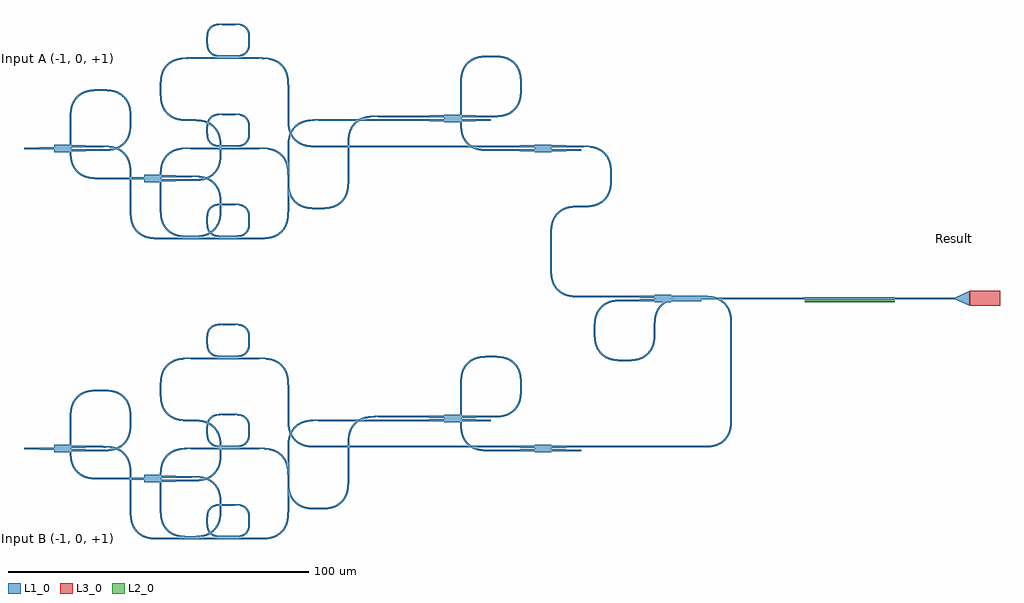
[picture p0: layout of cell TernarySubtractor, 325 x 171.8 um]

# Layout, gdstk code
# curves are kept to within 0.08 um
from math import pi, radians
import gdstk
lib = gdstk.Library(unit=1e-6, precision=1e-09)
def R(c, l, rs):  # rectangles x0, y0, x1, y1
    for r in rs: c.add(gdstk.rectangle(r[:2], r[2:], *l))
def P(c, l, *ps):  # polygons
    for p in ps: c.add(gdstk.Polygon(p, *l))
L1_0 = (1, 0)
L2_0 = (2, 0)
L3_0 = (3, 0)

mmi1x2_gdsfactorypcompon = lib.new_cell('mmi1x2_gdsfactorypcomponentspmmispmmi1x2_WNone_WT1_LT10_1f097353')
P(mmi1x2_gdsfactorypcompon, L1_0, [(0,-1.25),(0,-0.5),(-10,-0.25),(-10,0.25),(0,0.5),(0,1.25),(5.5,1.25),(5.5,1.125),(15.5,0.875),(15.5,0.375),(5.5,0.125),(5.5,-0.125),(15.5,-0.375),(15.5,-0.875),(5.5,-1.125),(5.5,-1.25)])

bend_euler_gdsfactorypco = lib.new_cell('bend_euler_gdsfactorypcomponentspbendspbend_euler_R10_A_335c8724')
P(bend_euler_gdsfactorypco, L1_0, [(0,-0.25),(0,0.25),(2.881,0.353),(3.952,0.52),(4.99,0.806),(6.431,1.505),(7.575,2.425),(8.495,3.569),(9.194,5.01),(9.48,6.048),(9.647,7.119),(9.75,10),(10.25,10),(10.158,7.205),(9.797,5.254),(9.457,4.312),(9.066,3.545),(8.5,2.715),(7.928,2.072),(7.285,1.5),(6.455,0.934),(5.688,0.543),(4.746,0.203),(2.795,-0.158)])

straight_gdsfactorypcomp = lib.new_cell('straight_gdsfactorypcomponentspwaveguidespstraight_L9p3_5c04381e')
R(straight_gdsfactorypcomp, L1_0, [(0,-0.25,9.375,0.25)])

c_straight_gdsfactorypcomp = lib.new_cell('straight_gdsfactorypcomponentspwaveguidespstraight_L4p5_be343a92')
R(c_straight_gdsfactorypcomp, L1_0, [(0,-0.25,4.5,0.25)])

split_a_c6504780 = lib.new_cell('split_A_c6504780')
split_a_c6504780.add(gdstk.Reference(mmi1x2_gdsfactorypcompon, (0,0)))
split_a_c6504780.add(gdstk.Reference(mmi1x2_gdsfactorypcompon, (30,-10)))
split_a_c6504780.add(gdstk.Reference(bend_euler_gdsfactorypco, (25.5,9.375), rotation=3*pi/2, x_reflection=True))
split_a_c6504780.add(gdstk.Reference(bend_euler_gdsfactorypco, (15.5,19.375), x_reflection=True))
split_a_c6504780.add(gdstk.Reference(bend_euler_gdsfactorypco, (5.5,9.375), rotation=pi/2, x_reflection=True))
split_a_c6504780.add(gdstk.Reference(bend_euler_gdsfactorypco, (15.5,-10), rotation=pi, x_reflection=True))
split_a_c6504780.add(gdstk.Reference(straight_gdsfactorypcomp, (5.5,9.375), rotation=3*pi/2))
split_a_c6504780.add(gdstk.Reference(c_straight_gdsfactorypcomp, (15.5,-10)))

coupler_ring_gdsfactoryp = lib.new_cell('coupler_ring_gdsfactorypcomponentspcouplerspcoupler_rin_e57d2f45')
R(coupler_ring_gdsfactoryp, L1_0, [(-12,-0.25,8,0.25)])
P(coupler_ring_gdsfactoryp, L1_0, [(-4.278,0.45),(-5.553,0.512),(-6.549,0.725),(-7.411,1.132),(-8.167,1.767),(-8.733,2.575),(-9.057,3.433),(-9.216,4.433),(-9.25,5.7),(-8.75,5.7),(-8.706,4.34),(-8.538,3.432),(-8.146,2.558),(-7.596,1.902),(-7.02,1.48),(-6.268,1.162),(-5.36,0.994),(-4.276,0.95),(1.093,0.973),(2.142,1.127),(2.894,1.411),(3.596,1.902),(4.22,2.68),(4.5,3.308),(4.654,3.944),(4.75,5.7),(5.25,5.7),(5.169,4.004),(5.018,3.292),(4.806,2.723),(4.476,2.152),(4.053,1.647),(3.125,0.967),(2.267,0.643),(1.124,0.474)])

c_straight_gdsfactorypcomp_ = lib.new_cell('straight_gdsfactorypcomponentspwaveguidespstraight_L4_N_a6eac62c')
R(c_straight_gdsfactorypcomp_, L1_0, [(0,-0.25,4,0.25)])

c_bend_euler_gdsfactorypco = lib.new_cell('bend_euler_gdsfactorypcomponentspbendspbend_euler_R5_A9_90a35c7e')
P(c_bend_euler_gdsfactorypco, L1_0, [(0,-0.25),(0,0.25),(1.36,0.294),(2.268,0.462),(3.02,0.78),(3.699,1.301),(4.22,1.98),(4.538,2.732),(4.706,3.64),(4.75,5),(5.25,5),(5.203,3.59),(5.018,2.592),(4.653,1.73),(4.053,0.947),(3.27,0.347),(2.408,-0.018),(1.41,-0.203)])

c_straight_gdsfactorypcomp__ = lib.new_cell('straight_gdsfactorypcomponentspwaveguidespstraight_L0p6_058e2168')
R(c_straight_gdsfactorypcomp__, L1_0, [(0,-0.25,0.6,0.25)])

ring_single_gdsfactorypc = lib.new_cell('ring_single_gdsfactorypcomponentspringspring_single_G0p_fd70e67b')
ring_single_gdsfactorypc.add(gdstk.Reference(coupler_ring_gdsfactoryp, (0,0)))
ring_single_gdsfactorypc.add(gdstk.Reference(c_straight_gdsfactorypcomp_, (0,11.3), rotation=pi))
ring_single_gdsfactorypc.add(gdstk.Reference(c_bend_euler_gdsfactorypco, (-4,11.3), rotation=pi))
ring_single_gdsfactorypc.add(gdstk.Reference(c_bend_euler_gdsfactorypco, (5,6.3), rotation=pi/2))
ring_single_gdsfactorypc.add(gdstk.Reference(c_straight_gdsfactorypcomp__, (-9,5.7), rotation=pi/2))
ring_single_gdsfactorypc.add(gdstk.Reference(c_straight_gdsfactorypcomp__, (5,6.3), rotation=3*pi/2))

sel_a_red_c6504780 = lib.new_cell('sel_A_Red_c6504780')
sel_a_red_c6504780.add(gdstk.Reference(ring_single_gdsfactorypc, (0,0)))
sel_a_red_c6504780.add(gdstk.Label('Î»=1.55Î¼m', (0,7), layer=66, texttype=0))

sel_a_green_c6504780 = lib.new_cell('sel_A_Green_c6504780')
sel_a_green_c6504780.add(gdstk.Reference(ring_single_gdsfactorypc, (0,0)))
sel_a_green_c6504780.add(gdstk.Label('Î»=1.3Î¼m', (0,7), layer=66, texttype=0))

sel_a_blue_c6504780 = lib.new_cell('sel_A_Blue_c6504780')
sel_a_blue_c6504780.add(gdstk.Reference(ring_single_gdsfactorypc, (0,0)))
sel_a_blue_c6504780.add(gdstk.Label('Î»=1.0Î¼m', (0,7), layer=66, texttype=0))

mmi2x2_gdsfactorypcompon = lib.new_cell('mmi2x2_gdsfactorypcomponentspmmispmmi2x2_WNone_WT1_LT10_d84946bc')
P(mmi2x2_gdsfactorypcompon, L1_0, [(0,-1.25),(0,-1.125),(-10,-0.875),(-10,-0.375),(0,-0.125),(0,0.125),(-10,0.375),(-10,0.875),(0,1.125),(0,1.25),(5.5,1.25),(5.5,1.125),(15.5,0.875),(15.5,0.375),(5.5,0.125),(5.5,-0.125),(15.5,-0.375),(15.5,-0.875),(5.5,-1.125),(5.5,-1.25)])

c_straight_gdsfactorypcomp___ = lib.new_cell('straight_gdsfactorypcomponentspwaveguidespstraight_L11p_b5dd33e6')
R(c_straight_gdsfactorypcomp___, L1_0, [(0,-0.25,11.25,0.25)])

comb_a_c6504780 = lib.new_cell('comb_A_c6504780')
comb_a_c6504780.add(gdstk.Reference(mmi2x2_gdsfactorypcompon, (0,10)))
comb_a_c6504780.add(gdstk.Reference(mmi2x2_gdsfactorypcompon, (30,0)))
comb_a_c6504780.add(gdstk.Reference(bend_euler_gdsfactorypco, (25.5,20.625), rotation=3*pi/2, x_reflection=True))
comb_a_c6504780.add(gdstk.Reference(bend_euler_gdsfactorypco, (15.5,30.625), x_reflection=True))
comb_a_c6504780.add(gdstk.Reference(bend_euler_gdsfactorypco, (5.5,20.625), rotation=pi/2, x_reflection=True))
comb_a_c6504780.add(gdstk.Reference(bend_euler_gdsfactorypco, (15.5,-0.625), rotation=pi, x_reflection=True))
comb_a_c6504780.add(gdstk.Reference(c_straight_gdsfactorypcomp___, (5.5,20.625), rotation=3*pi/2))
comb_a_c6504780.add(gdstk.Reference(c_straight_gdsfactorypcomp, (15.5,-0.625)))

c_straight_gdsfactorypcomp____ = lib.new_cell('straight_gdsfactorypcomponentspwaveguidespstraight_L10p_2f2216ae')
R(c_straight_gdsfactorypcomp____, L1_0, [(0,-0.25,10.625,0.25)])

c_straight_gdsfactorypcomp_____ = lib.new_cell('straight_gdsfactorypcomponentspwaveguidespstraight_L12p_0dcc9123')
R(c_straight_gdsfactorypcomp_____, L1_0, [(0,-0.25,12.5,0.25)])

c_straight_gdsfactorypcomp______ = lib.new_cell('straight_gdsfactorypcomponentspwaveguidespstraight_L2p5_b59e3197')
R(c_straight_gdsfactorypcomp______, L1_0, [(0,-0.25,2.5,0.25)])

c_straight_gdsfactorypcomp_______ = lib.new_cell('straight_gdsfactorypcomponentspwaveguidespstraight_L0p6_2a917248')
R(c_straight_gdsfactorypcomp_______, L1_0, [(0,-0.25,0.625,0.25)])

c_straight_gdsfactorypcomp________ = lib.new_cell('straight_gdsfactorypcomponentspwaveguidespstraight_L19p_8f351695')
R(c_straight_gdsfactorypcomp________, L1_0, [(0,-0.25,19.375,0.25)])

c_straight_gdsfactorypcomp_________ = lib.new_cell('straight_gdsfactorypcomponentspwaveguidespstraight_L32__d09634ea')
R(c_straight_gdsfactorypcomp_________, L1_0, [(0,-0.25,32,0.25)])

c_straight_gdsfactorypcomp__________ = lib.new_cell('straight_gdsfactorypcomponentspwaveguidespstraight_L12__08aed825')
R(c_straight_gdsfactorypcomp__________, L1_0, [(0,-0.25,12,0.25)])

c_straight_gdsfactorypcomp___________ = lib.new_cell('straight_gdsfactorypcomponentspwaveguidespstraight_L62__7b0e011d')
R(c_straight_gdsfactorypcomp___________, L1_0, [(0,-0.25,62,0.25)])

input_a_c6504780 = lib.new_cell('input_A_c6504780')
input_a_c6504780.add(gdstk.Reference(split_a_c6504780, (0,50)))
input_a_c6504780.add(gdstk.Reference(sel_a_red_c6504780, (60,20)))
input_a_c6504780.add(gdstk.Reference(sel_a_green_c6504780, (60,50)))
input_a_c6504780.add(gdstk.Reference(sel_a_blue_c6504780, (60,80)))
input_a_c6504780.add(gdstk.Reference(comb_a_c6504780, (130,50)))
input_a_c6504780.add(gdstk.Reference(bend_euler_gdsfactorypco, (25.5,40.625), rotation=pi/2))
input_a_c6504780.add(gdstk.Reference(bend_euler_gdsfactorypco, (35.5,20), rotation=pi, x_reflection=True))
input_a_c6504780.add(gdstk.Reference(c_straight_gdsfactorypcomp____, (25.5,40.625), rotation=3*pi/2))
input_a_c6504780.add(gdstk.Reference(c_straight_gdsfactorypcomp_____, (35.5,20)))
input_a_c6504780.add(gdstk.Reference(bend_euler_gdsfactorypco, (55.5,30.625), rotation=pi/2))
input_a_c6504780.add(gdstk.Reference(bend_euler_gdsfactorypco, (45.5,20.625)))
input_a_c6504780.add(gdstk.Reference(bend_euler_gdsfactorypco, (35.5,30.625), rotation=3*pi/2))
input_a_c6504780.add(gdstk.Reference(bend_euler_gdsfactorypco, (45.5,50), rotation=pi))
input_a_c6504780.add(gdstk.Reference(straight_gdsfactorypcomp, (35.5,30.625), rotation=pi/2))
input_a_c6504780.add(gdstk.Reference(c_straight_gdsfactorypcomp______, (45.5,50)))
input_a_c6504780.add(gdstk.Reference(bend_euler_gdsfactorypco, (55.5,49.375), rotation=3*pi/2, x_reflection=True))
input_a_c6504780.add(gdstk.Reference(bend_euler_gdsfactorypco, (45.5,59.375), x_reflection=True))
input_a_c6504780.add(gdstk.Reference(bend_euler_gdsfactorypco, (35.5,69.375), rotation=3*pi/2))
input_a_c6504780.add(gdstk.Reference(bend_euler_gdsfactorypco, (45.5,80), rotation=pi))
input_a_c6504780.add(gdstk.Reference(c_straight_gdsfactorypcomp_______, (35.5,69.375), rotation=pi/2))
input_a_c6504780.add(gdstk.Reference(c_straight_gdsfactorypcomp______, (45.5,80)))
input_a_c6504780.add(gdstk.Reference(bend_euler_gdsfactorypco, (78,30), rotation=3*pi/2, x_reflection=True))
input_a_c6504780.add(gdstk.Reference(bend_euler_gdsfactorypco, (88,59.375), rotation=pi))
input_a_c6504780.add(gdstk.Reference(c_straight_gdsfactorypcomp________, (78,30), rotation=pi/2))
input_a_c6504780.add(gdstk.Reference(c_straight_gdsfactorypcomp_________, (88,59.375)))
input_a_c6504780.add(gdstk.Reference(bend_euler_gdsfactorypco, (78,40), rotation=pi/2))
input_a_c6504780.add(gdstk.Reference(bend_euler_gdsfactorypco, (88,30), rotation=pi, x_reflection=True))
input_a_c6504780.add(gdstk.Reference(bend_euler_gdsfactorypco, (98,40), rotation=3*pi/2, x_reflection=True))
input_a_c6504780.add(gdstk.Reference(bend_euler_gdsfactorypco, (108,60.625), rotation=pi))
input_a_c6504780.add(gdstk.Reference(c_straight_gdsfactorypcomp____, (98,40), rotation=pi/2))
input_a_c6504780.add(gdstk.Reference(c_straight_gdsfactorypcomp__________, (108,60.625)))
input_a_c6504780.add(gdstk.Reference(bend_euler_gdsfactorypco, (78,70), rotation=pi/2))
input_a_c6504780.add(gdstk.Reference(bend_euler_gdsfactorypco, (88,50.625), rotation=pi, x_reflection=True))
input_a_c6504780.add(gdstk.Reference(straight_gdsfactorypcomp, (78,70), rotation=3*pi/2))
input_a_c6504780.add(gdstk.Reference(c_straight_gdsfactorypcomp___________, (88,50.625)))

split_b_c6504780 = lib.new_cell('split_B_c6504780')
split_b_c6504780.add(gdstk.Reference(mmi1x2_gdsfactorypcompon, (0,0)))
split_b_c6504780.add(gdstk.Reference(mmi1x2_gdsfactorypcompon, (30,-10)))
split_b_c6504780.add(gdstk.Reference(bend_euler_gdsfactorypco, (25.5,9.375), rotation=3*pi/2, x_reflection=True))
split_b_c6504780.add(gdstk.Reference(bend_euler_gdsfactorypco, (15.5,19.375), x_reflection=True))
split_b_c6504780.add(gdstk.Reference(bend_euler_gdsfactorypco, (5.5,9.375), rotation=pi/2, x_reflection=True))
split_b_c6504780.add(gdstk.Reference(bend_euler_gdsfactorypco, (15.5,-10), rotation=pi, x_reflection=True))
split_b_c6504780.add(gdstk.Reference(straight_gdsfactorypcomp, (5.5,9.375), rotation=3*pi/2))
split_b_c6504780.add(gdstk.Reference(c_straight_gdsfactorypcomp, (15.5,-10)))

sel_b_red_c6504780 = lib.new_cell('sel_B_Red_c6504780')
sel_b_red_c6504780.add(gdstk.Reference(ring_single_gdsfactorypc, (0,0)))
sel_b_red_c6504780.add(gdstk.Label('Î»=1.55Î¼m', (0,7), layer=66, texttype=0))

sel_b_green_c6504780 = lib.new_cell('sel_B_Green_c6504780')
sel_b_green_c6504780.add(gdstk.Reference(ring_single_gdsfactorypc, (0,0)))
sel_b_green_c6504780.add(gdstk.Label('Î»=1.3Î¼m', (0,7), layer=66, texttype=0))

sel_b_blue_c6504780 = lib.new_cell('sel_B_Blue_c6504780')
sel_b_blue_c6504780.add(gdstk.Reference(ring_single_gdsfactorypc, (0,0)))
sel_b_blue_c6504780.add(gdstk.Label('Î»=1.0Î¼m', (0,7), layer=66, texttype=0))

comb_b_c6504780 = lib.new_cell('comb_B_c6504780')
comb_b_c6504780.add(gdstk.Reference(mmi2x2_gdsfactorypcompon, (0,10)))
comb_b_c6504780.add(gdstk.Reference(mmi2x2_gdsfactorypcompon, (30,0)))
comb_b_c6504780.add(gdstk.Reference(bend_euler_gdsfactorypco, (25.5,20.625), rotation=3*pi/2, x_reflection=True))
comb_b_c6504780.add(gdstk.Reference(bend_euler_gdsfactorypco, (15.5,30.625), x_reflection=True))
comb_b_c6504780.add(gdstk.Reference(bend_euler_gdsfactorypco, (5.5,20.625), rotation=pi/2, x_reflection=True))
comb_b_c6504780.add(gdstk.Reference(bend_euler_gdsfactorypco, (15.5,-0.625), rotation=pi, x_reflection=True))
comb_b_c6504780.add(gdstk.Reference(c_straight_gdsfactorypcomp___, (5.5,20.625), rotation=3*pi/2))
comb_b_c6504780.add(gdstk.Reference(c_straight_gdsfactorypcomp, (15.5,-0.625)))

input_b_c6504780 = lib.new_cell('input_B_c6504780')
input_b_c6504780.add(gdstk.Reference(split_b_c6504780, (0,-50)))
input_b_c6504780.add(gdstk.Reference(sel_b_red_c6504780, (60,-80)))
input_b_c6504780.add(gdstk.Reference(sel_b_green_c6504780, (60,-50)))
input_b_c6504780.add(gdstk.Reference(sel_b_blue_c6504780, (60,-20)))
input_b_c6504780.add(gdstk.Reference(comb_b_c6504780, (130,-50)))
input_b_c6504780.add(gdstk.Reference(bend_euler_gdsfactorypco, (25.5,-59.375), rotation=pi/2))
input_b_c6504780.add(gdstk.Reference(bend_euler_gdsfactorypco, (35.5,-80), rotation=pi, x_reflection=True))
input_b_c6504780.add(gdstk.Reference(c_straight_gdsfactorypcomp____, (25.5,-59.375), rotation=3*pi/2))
input_b_c6504780.add(gdstk.Reference(c_straight_gdsfactorypcomp_____, (35.5,-80)))
input_b_c6504780.add(gdstk.Reference(bend_euler_gdsfactorypco, (55.5,-69.375), rotation=pi/2))
input_b_c6504780.add(gdstk.Reference(bend_euler_gdsfactorypco, (45.5,-79.375)))
input_b_c6504780.add(gdstk.Reference(bend_euler_gdsfactorypco, (35.5,-69.375), rotation=3*pi/2))
input_b_c6504780.add(gdstk.Reference(bend_euler_gdsfactorypco, (45.5,-50), rotation=pi))
input_b_c6504780.add(gdstk.Reference(straight_gdsfactorypcomp, (35.5,-69.375), rotation=pi/2))
input_b_c6504780.add(gdstk.Reference(c_straight_gdsfactorypcomp______, (45.5,-50)))
input_b_c6504780.add(gdstk.Reference(bend_euler_gdsfactorypco, (55.5,-50.625), rotation=3*pi/2, x_reflection=True))
input_b_c6504780.add(gdstk.Reference(bend_euler_gdsfactorypco, (45.5,-40.625), x_reflection=True))
input_b_c6504780.add(gdstk.Reference(bend_euler_gdsfactorypco, (35.5,-30.625), rotation=3*pi/2))
input_b_c6504780.add(gdstk.Reference(bend_euler_gdsfactorypco, (45.5,-20), rotation=pi))
input_b_c6504780.add(gdstk.Reference(c_straight_gdsfactorypcomp_______, (35.5,-30.625), rotation=pi/2))
input_b_c6504780.add(gdstk.Reference(c_straight_gdsfactorypcomp______, (45.5,-20)))
input_b_c6504780.add(gdstk.Reference(bend_euler_gdsfactorypco, (78,-70), rotation=3*pi/2, x_reflection=True))
input_b_c6504780.add(gdstk.Reference(bend_euler_gdsfactorypco, (88,-40.625), rotation=pi))
input_b_c6504780.add(gdstk.Reference(c_straight_gdsfactorypcomp________, (78,-70), rotation=pi/2))
input_b_c6504780.add(gdstk.Reference(c_straight_gdsfactorypcomp_________, (88,-40.625)))
input_b_c6504780.add(gdstk.Reference(bend_euler_gdsfactorypco, (78,-60), rotation=pi/2))
input_b_c6504780.add(gdstk.Reference(bend_euler_gdsfactorypco, (88,-70), rotation=pi, x_reflection=True))
input_b_c6504780.add(gdstk.Reference(bend_euler_gdsfactorypco, (98,-60), rotation=3*pi/2, x_reflection=True))
input_b_c6504780.add(gdstk.Reference(bend_euler_gdsfactorypco, (108,-39.375), rotation=pi))
input_b_c6504780.add(gdstk.Reference(c_straight_gdsfactorypcomp____, (98,-60), rotation=pi/2))
input_b_c6504780.add(gdstk.Reference(c_straight_gdsfactorypcomp__________, (108,-39.375)))
input_b_c6504780.add(gdstk.Reference(bend_euler_gdsfactorypco, (78,-30), rotation=pi/2))
input_b_c6504780.add(gdstk.Reference(bend_euler_gdsfactorypco, (88,-49.375), rotation=pi, x_reflection=True))
input_b_c6504780.add(gdstk.Reference(straight_gdsfactorypcomp, (78,-30), rotation=3*pi/2))
input_b_c6504780.add(gdstk.Reference(c_straight_gdsfactorypcomp___________, (88,-49.375)))

c_straight_gdsfactorypcomp____________ = lib.new_cell('straight_gdsfactorypcomponentspwaveguidespstraight_L30__ad10009a')
R(c_straight_gdsfactorypcomp____________, L1_0, [(0,-0.4,30,0.4)])

alu_mixer_c6504780 = lib.new_cell('alu_mixer_c6504780')
R(alu_mixer_c6504780, L2_0, [(0,-1.3,30,-0.8)])
alu_mixer_c6504780.add(gdstk.Reference(c_straight_gdsfactorypcomp____________, (0,0)))
alu_mixer_c6504780.add(gdstk.Label('Ï\x87Â² SFG Mixer', (15,-1.8), layer=66, texttype=0))

taper_gdsfactorypcompone = lib.new_cell('taper_gdsfactorypcomponentsptapersptaper_L10_W0p8_W0p5__da63ba57')
P(taper_gdsfactorypcompone, L1_0, [(0,-0.4),(0,0.4),(10,0.25),(10,-0.25)])

c_taper_gdsfactorypcompone = lib.new_cell('taper_gdsfactorypcomponentsptapersptaper_L5_W0p5_W5_LNo_a5a973af')
P(c_taper_gdsfactorypcompone, L1_0, [(5,-2.5),(0,-0.25),(0,0.25),(5,2.5)])

rectangle_gdsfactorypcom = lib.new_cell('rectangle_gdsfactorypcomponentspshapesprectangle_S10_5__78859263')
R(rectangle_gdsfactorypcom, L3_0, [(0,0,10,5)])

result_detector_c6504780 = lib.new_cell('result_detector_c6504780')
result_detector_c6504780.add(gdstk.Reference(c_taper_gdsfactorypcompone, (0,0)))
result_detector_c6504780.add(gdstk.Reference(rectangle_gdsfactorypcom, (5,-2.5)))
result_detector_c6504780.add(gdstk.Label('Photodetector', (10,-5), layer=66, texttype=0))

c_straight_gdsfactorypcomp_____________ = lib.new_cell('straight_gdsfactorypcomponentspwaveguidespstraight_L10__f2286423')
R(c_straight_gdsfactorypcomp_____________, L1_0, [(0,-0.25,10,0.25)])

c_straight_gdsfactorypcomp______________ = lib.new_cell('straight_gdsfactorypcomponentspwaveguidespstraight_L14p_2ca56a52')
R(c_straight_gdsfactorypcomp______________, L1_0, [(0,-0.25,14.5,0.25)])

c_straight_gdsfactorypcomp_______________ = lib.new_cell('straight_gdsfactorypcomponentspwaveguidespstraight_L40__92237c63')
R(c_straight_gdsfactorypcomp_______________, L1_0, [(0,-0.25,40,0.25)])

c_straight_gdsfactorypcomp________________ = lib.new_cell('straight_gdsfactorypcomponentspwaveguidespstraight_L30__a17b4e39')
R(c_straight_gdsfactorypcomp________________, L1_0, [(0,-0.25,30,0.25)])

ternarysubtractor = lib.new_cell('TernarySubtractor')
ternarysubtractor.add(gdstk.Reference(input_a_c6504780, (0,0)))
ternarysubtractor.add(gdstk.Reference(input_b_c6504780, (0,0)))
ternarysubtractor.add(gdstk.Reference(mmi2x2_gdsfactorypcompon, (200,0)))
ternarysubtractor.add(gdstk.Reference(alu_mixer_c6504780, (250,0)))
ternarysubtractor.add(gdstk.Reference(taper_gdsfactorypcompone, (250,0), rotation=pi))
ternarysubtractor.add(gdstk.Reference(result_detector_c6504780, (300,0)))
ternarysubtractor.add(gdstk.Reference(taper_gdsfactorypcompone, (280,0)))
ternarysubtractor.add(gdstk.Reference(bend_euler_gdsfactorypco, (185.5,40.625), rotation=pi/2))
ternarysubtractor.add(gdstk.Reference(bend_euler_gdsfactorypco, (175.5,30.625)))
ternarysubtractor.add(gdstk.Reference(bend_euler_gdsfactorypco, (165.5,20.625), rotation=pi/2, x_reflection=True))
ternarysubtractor.add(gdstk.Reference(bend_euler_gdsfactorypco, (175.5,0.625), rotation=pi, x_reflection=True))
ternarysubtractor.add(gdstk.Reference(c_straight_gdsfactorypcomp_____________, (165.5,20.625), rotation=3*pi/2))
ternarysubtractor.add(gdstk.Reference(c_straight_gdsfactorypcomp______________, (175.5,0.625)))
ternarysubtractor.add(gdstk.Reference(bend_euler_gdsfactorypco, (225.5,-39.375), rotation=3*pi/2, x_reflection=True))
ternarysubtractor.add(gdstk.Reference(c_straight_gdsfactorypcomp_______________, (175.5,-49.375)))
ternarysubtractor.add(gdstk.Reference(bend_euler_gdsfactorypco, (215.5,0.625), x_reflection=True))
ternarysubtractor.add(gdstk.Reference(c_straight_gdsfactorypcomp________________, (225.5,-39.375), rotation=pi/2))
ternarysubtractor.add(gdstk.Reference(bend_euler_gdsfactorypco, (180,-10.625), rotation=pi/2, x_reflection=True))
ternarysubtractor.add(gdstk.Reference(bend_euler_gdsfactorypco, (190,-20.625), rotation=pi, x_reflection=True))
ternarysubtractor.add(gdstk.Reference(bend_euler_gdsfactorypco, (200,-10.625), rotation=3*pi/2, x_reflection=True))
ternarysubtractor.add(gdstk.Reference(bend_euler_gdsfactorypco, (210,0), rotation=pi))
ternarysubtractor.add(gdstk.Reference(c_straight_gdsfactorypcomp_______, (200,-10.625), rotation=pi/2))
ternarysubtractor.add(gdstk.Reference(c_straight_gdsfactorypcomp________________, (210,0)))
ternarysubtractor.add(gdstk.Reference(c_straight_gdsfactorypcomp_____________, (290,0)))
ternarysubtractor.add(gdstk.Label('Ternary ALU - Operations: subtract', (150,100), layer=66, texttype=0))
ternarysubtractor.add(gdstk.Label('Input A (-1, 0, +1)', (0,80), layer=66, texttype=0))
ternarysubtractor.add(gdstk.Label('Input B (-1, 0, +1)', (0,-80), layer=66, texttype=0))
ternarysubtractor.add(gdstk.Label('Result', (300,20), layer=66, texttype=0))

lib.write_gds('TernarySubtractor.gds')
